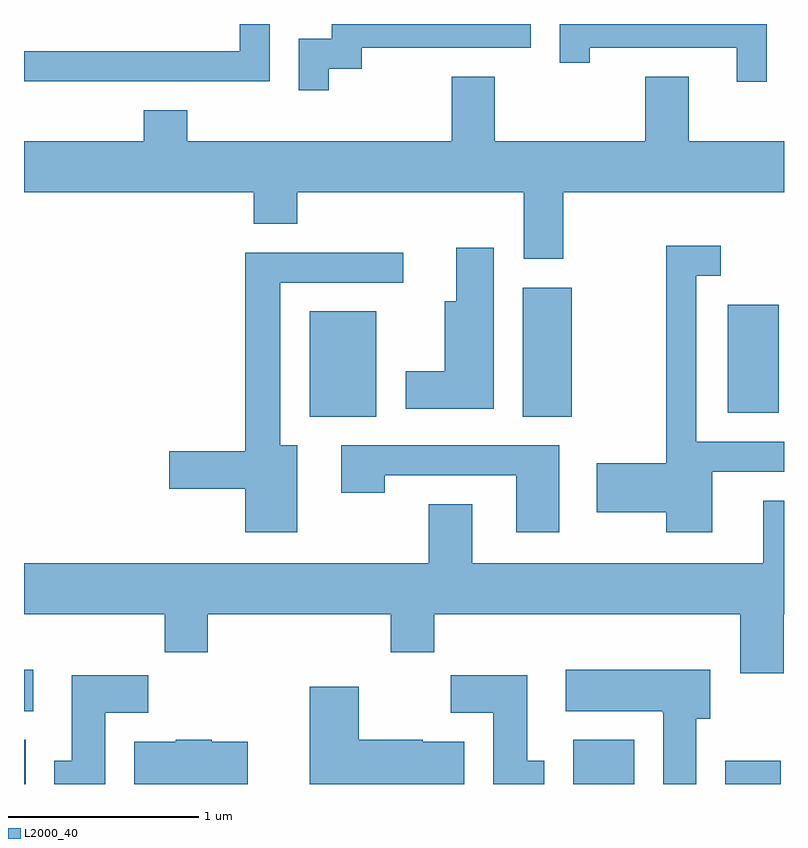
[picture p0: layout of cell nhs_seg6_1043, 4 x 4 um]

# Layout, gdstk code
import gdstk
lib = gdstk.Library(unit=1e-6, precision=1e-09)
def R(c, l, rs):  # rectangles x0, y0, x1, y1
    for r in rs: c.add(gdstk.rectangle(r[:2], r[2:], *l))
def P(c, l, *ps):  # polygons
    for p in ps: c.add(gdstk.Polygon(p, *l))
L2000_40 = (2000, 40)

nhs_seg6_1043 = lib.new_cell('nhs_seg6_1043')
R(nhs_seg6_1043, L2000_40, [(215.611,1640.162,215.619,1640.394), (218.501,1640.162,218.824,1640.394), (219.301,1640.162,219.594,1640.284), (215.611,1640.546,215.659,1640.764), (217.116,1642.096,217.464,1642.649), (218.236,1642.096,218.494,1642.774), (219.316,1642.116,219.584,1642.684)])
P(nhs_seg6_1043, L2000_40, [(216.904,1644.162),(216.746,1644.162),(216.746,1644.019),(215.611,1644.019),(215.611,1643.861),(216.904,1643.861)],
  [(217.214,1643.926),(217.389,1643.926),(217.389,1644.036),(218.279,1644.036),(218.279,1644.162),(217.231,1644.162),(217.231,1644.084),(217.056,1644.084),(217.056,1643.813),(217.214,1643.813)],
  [(219.519,1644.162),(218.431,1644.162),(218.431,1643.958),(218.589,1643.958),(218.589,1644.036),(219.361,1644.036),(219.361,1643.858),(219.519,1643.858)],
  [(218.449,1643.276),(219.611,1643.276),(219.611,1643.544),(219.109,1643.544),(219.109,1643.884),(218.881,1643.884),(218.881,1643.544),(218.089,1643.544),(218.089,1643.884),(217.861,1643.884),(217.861,1643.544),(216.469,1643.544),(216.469,1643.709),(216.241,1643.709),(216.241,1643.544),(215.611,1643.544),(215.611,1643.276),(216.821,1643.276),(216.821,1643.111),(217.049,1643.111),(217.049,1643.276),(218.241,1643.276),(218.241,1642.926),(218.449,1642.926)],
  [(219.234,1641.806),(219.611,1641.806),(219.611,1641.964),(219.149,1641.964),(219.149,1642.836),(219.278,1642.836),(219.278,1642.994),(218.991,1642.994),(218.991,1641.849),(218.626,1641.849),(218.626,1641.591),(218.991,1641.591),(218.991,1641.486),(219.234,1641.486)],
  [(218.084,1642.984),(217.886,1642.984),(217.886,1642.704),(217.826,1642.704),(217.826,1642.334),(217.621,1642.334),(217.621,1642.136),(218.084,1642.136)],
  [(217.049,1641.944),(216.959,1641.944),(216.959,1642.801),(217.608,1642.801),(217.608,1642.959),(216.776,1642.959),(216.776,1641.914),(216.376,1641.914),(216.376,1641.716),(216.776,1641.716),(216.776,1641.486),(217.049,1641.486)],
  [(218.429,1641.944),(217.281,1641.944),(217.281,1641.696),(217.509,1641.696),(217.509,1641.786),(218.201,1641.786),(218.201,1641.486),(218.429,1641.486)],
  [(219.609,1641.056),(219.611,1641.056),(219.611,1641.654),(219.501,1641.654),(219.501,1641.324),(217.969,1641.324),(217.969,1641.634),(217.741,1641.634),(217.741,1641.324),(215.611,1641.324),(215.611,1641.056),(216.351,1641.056),(216.351,1640.856),(216.579,1640.856),(216.579,1641.056),(217.541,1641.056),(217.541,1640.856),(217.769,1640.856),(217.769,1641.056),(219.381,1641.056),(219.381,1640.746),(219.609,1640.746)],
  [(219.149,1640.506),(219.224,1640.506),(219.224,1640.764),(218.461,1640.764),(218.461,1640.546),(218.97,1640.546),(218.97,1640.54),(218.976,1640.54),(218.976,1640.162),(219.149,1640.162)],
  [(218.349,1640.284),(218.259,1640.284),(218.259,1640.734),(217.856,1640.734),(217.856,1640.536),(218.081,1640.536),(218.081,1640.162),(218.349,1640.162)],
  [(216.039,1640.536),(216.264,1640.536),(216.264,1640.734),(215.861,1640.734),(215.861,1640.284),(215.771,1640.284),(215.771,1640.162),(216.039,1640.162)],
  [(217.929,1640.384),(217.71,1640.384),(217.71,1640.394),(217.374,1640.394),(217.374,1640.674),(217.116,1640.674),(217.116,1640.162),(217.929,1640.162)],
  [(216.789,1640.384),(216.6,1640.384),(216.6,1640.394),(216.41,1640.394),(216.41,1640.384),(216.191,1640.384),(216.191,1640.162),(216.789,1640.162)])

lib.write_gds('nhs_seg6_1043.gds')
